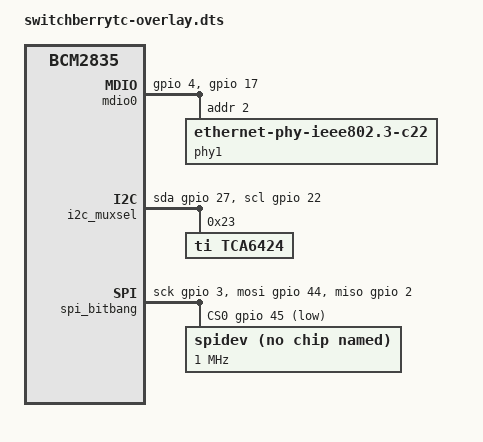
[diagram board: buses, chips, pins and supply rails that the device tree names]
/*
 * Universal device tree overlay for SPI devices
 */

/dts-v1/;
/plugin/;

#include <dt-bindings/gpio/gpio.h>
/ {
	compatible = "brcm,bcm2835";


	fragment@0 { // ksz9031 rgmii phy between ksz9567 and CM4
		target-path = "/";
		__overlay__ {
			mdio0: mdio {
				compatible = "virtual,mdio-gpio";
				// MDC = cm4 pin 54 gpio4 , MDIO = cm4 pin 50 gpio 17
				gpios = <&gpio 4 0>, <&gpio 17 0>;
				#address-cells = <1>;
				#size-cells = <0>;
				status = "okay";
				phy1: ethernet-phy@0 {
					compatible = "ethernet-phy-ieee802.3-c22";
					reg = <2>;
					//reset-gpios = <&gpio 24 GPIO_ACTIVE_LOW>; // brd_rst_n cm4 pin 45 gpio 24	
				};
			};
		};
	};


	   fragment@1 {
			target-path = "/";
			__overlay__ {
				    i2c_muxsel: i2c@9 {
					reg = <9>;
					compatible = "i2c-gpio";
					gpios = <&gpio 27 (GPIO_ACTIVE_HIGH|GPIO_OPEN_DRAIN) /* SDA */
						 &gpio 22 (GPIO_ACTIVE_HIGH|GPIO_OPEN_DRAIN) /* SCL */>;
					i2c-gpio,delay-us = <2>;        /* ~100 kHz */
					#address-cells = <1>;
					#size-cells = <0>;

						tca6424: gpio@23 {
							compatible = "ti,tca6424";
							reg = <0x23>;
							gpio-controller;
							#gpio-cells = <2>;
							status = "okay";
							gpio-line-names = "SMA1_MUX_SEL0" , "SMA1_MUX_SEL1", 
								"SMA2_MUX_SEL0", "SMA2_MUX_SEL1", 
								"SMA3_MUX_SEL0", "SMA3_MUX_SEL1",
								"M2_MUX_SEL0", "M2_MUX_SEL1",
								"KSZ_MUX_SEL0", "KSZ_MUX_SEL1",
								"CM4_MUX_SEL0",	"CM4_MUX_SEL1",
								"DPLL_CLK0P_SEL", "DPLL_CLK1P_SEL",
								"DPLL_CLK0N_SEL", "DPLL_CLK1N_SEL",
								"DPLL_Q9P_SEL", "DPLL_Q10P_SEL";
						};
				    };
				};
		};



	fragment@2 {
		target = <&gpio>;
		__overlay__ {
			spi_bitbang_pins: spi_bitbang_pins {
				brcm,pins = <2 3 44 45>;      /* MISO SCK MOSI CS0 */
				brcm,function = <0 0 0 0>;    /* plain GPIO (not ALT) */
				brcm,pull = <0 0 0 0>;        /* no pulls */
			};
		};
	};


	fragment@3 {
		target-path = "/";
		__overlay__ {
			spi_bitbang: spi_bitbang {
				compatible = "spi-gpio";
				pinctrl-names = "default";
				pinctrl-0 = <&spi_bitbang_pins>;
				status = "okay";

				/* sck-gpios  = <&gpio GPIO SCK_FLAGS>;   */
				/* mosi-gpios = <&gpio GPIO MOSI_FLAGS>;  */
				/* miso-gpios = <&gpio GPIO MISO_FLAGS>;  */
				/* cs-gpios   = <&gpio GPIO CS_FLAGS>;    */
				sck-gpios  = <&gpio 3 0>;
				mosi-gpios = <&gpio 44 0>;
				miso-gpios = <&gpio 2 0>;
				cs-gpios   = <&gpio 45 1>;   /* 1 = active-low CS */

				num-chipselects = <1>;
				#address-cells = <1>;
				#size-cells = <0>;

				spidev@0 {
					compatible = "spidev";
					reg = <0>;                     /* CS0 */
					spi-max-frequency = <1000000>; /* 1 MHz bit-bang */
					status = "okay";
				};
			};
		};
	};



};
